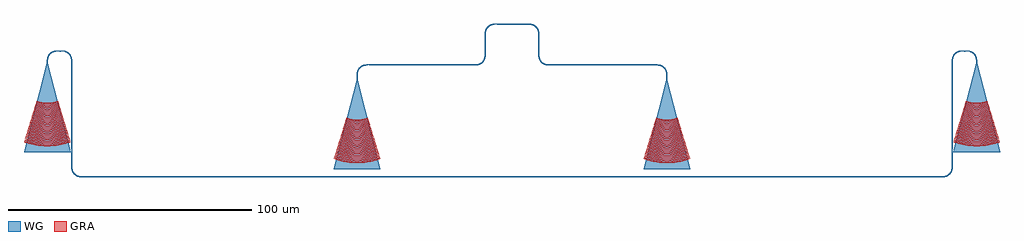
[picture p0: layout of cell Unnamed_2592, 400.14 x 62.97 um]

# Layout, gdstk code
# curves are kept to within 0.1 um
from math import pi, radians
import gdstk
lib = gdstk.Library(unit=1e-6, precision=1e-09)
def R(c, l, rs):  # rectangles x0, y0, x1, y1
    for r in rs: c.add(gdstk.rectangle(r[:2], r[2:], *l))
def P(c, l, *ps):  # polygons
    for p in ps: c.add(gdstk.Polygon(p, *l))
WG = (3, 0)
GRA = (6, 0)

straight_l10_wnone_csxs_ = lib.new_cell('straight_L10_WNone_CSxs_so')
R(straight_l10_wnone_csxs_, WG, [(0,-0.2,10,0.2)])

bend_euler_rnone_a90_p0_ = lib.new_cell('bend_euler_RNone_A90_P0_c66059ab')
P(bend_euler_rnone_a90_p0_, WG, [(0,-0.2),(0,0.2),(1.365,0.244),(2.282,0.414),(3.045,0.736),(3.734,1.266),(4.264,1.955),(4.586,2.718),(4.756,3.635),(4.8,5),(5.2,5),(5.154,3.595),(4.97,2.606),(4.61,1.755),(4.017,0.983),(3.245,0.39),(2.394,0.03),(1.405,-0.154)])

straight_l0p5_n2_csxs_so = lib.new_cell('straight_L0p5_N2_CSxs_so_W0p4')
R(straight_l0p5_n2_csxs_so, WG, [(0,-0.2,0.5,0.2)])

straight_l1_n2_csxs_so_w = lib.new_cell('straight_L1_N2_CSxs_so_W0p4')
R(straight_l1_n2_csxs_so_w, WG, [(0,-0.2,1,0.2)])

grating_coupler_ellipti_ = lib.new_cell('grating_coupler_ellipti_387acb4a')
P(grating_coupler_ellipti_, WG, [(34.97,-9.57),(-1.4,-0.2),(-1.4,0.2),(34.97,9.57),(35.17,9.57),(35.17,-9.57)])
P(grating_coupler_ellipti_, GRA, [(14.262,-4.461),(14.143,-4.303),(14.475,-3.226),(14.711,-2.127),(14.849,-1.011),(14.888,-0.113),(14.849,1.011),(14.711,2.127),(14.475,3.226),(14.143,4.303),(14.262,4.461),(14.453,4.411),(14.903,2.861),(15.132,1.497),(15.218,0.115),(15.157,-1.267),(14.903,-2.861),(14.453,-4.411)],
  [(14.812,-4.628),(14.693,-4.47),(15.038,-3.352),(15.283,-2.21),(15.427,-1.05),(15.467,-0.117),(15.443,0.817),(15.353,1.747),(15.095,3.125),(14.693,4.47),(14.812,4.628),(15.003,4.578),(15.47,2.97),(15.708,1.553),(15.796,0.119),(15.734,-1.315),(15.519,-2.735),(15.293,-3.666),(15.003,-4.578)],
  [(15.362,-4.796),(15.242,-4.638),(15.601,-3.477),(15.855,-2.293),(15.983,-1.331),(16.046,-0.122),(16.022,0.848),(15.928,1.813),(15.66,3.242),(15.242,4.638),(15.362,4.796),(15.554,4.746),(16.036,3.078),(16.284,1.61),(16.375,0.124),(16.311,-1.363),(16.088,-2.835),(15.854,-3.801),(15.554,-4.746)],
  [(15.912,-4.964),(15.792,-4.806),(16.164,-3.603),(16.383,-2.623),(16.559,-1.379),(16.626,-0.126),(16.6,0.879),(16.502,1.879),(16.225,3.359),(15.792,4.806),(15.912,4.964),(16.104,4.914),(16.603,3.187),(16.859,1.667),(16.954,0.128),(16.887,-1.411),(16.657,-2.935),(16.414,-3.934),(16.104,-4.914)],
  [(16.462,-5.131),(16.343,-4.973),(16.727,-3.729),(17.04,-2.201),(17.159,-1.169),(17.204,-0.13),(17.178,0.909),(17.077,1.944),(16.79,3.478),(16.343,4.973),(16.462,5.131),(16.653,5.081),(16.975,4.069),(17.226,3.035),(17.464,1.459),(17.534,0.132),(17.464,-1.459),(17.226,-3.035),(16.975,-4.069),(16.653,-5.081)],
  [(17.011,-5.299),(16.892,-5.141),(17.355,-3.594),(17.613,-2.275),(17.737,-1.208),(17.784,-0.135),(17.756,0.94),(17.652,2.009),(17.355,3.594),(16.892,5.141),(17.011,5.299),(17.202,5.249),(17.737,3.404),(18.011,1.781),(18.112,0.137),(18.041,-1.508),(17.794,-3.136),(17.535,-4.203),(17.202,-5.249)],
  [(17.561,-5.465),(17.442,-5.308),(17.92,-3.711),(18.187,-2.349),(18.314,-1.247),(18.362,-0.139),(18.334,0.971),(18.187,2.349),(17.92,3.711),(17.442,5.308),(17.561,5.465),(17.752,5.416),(18.096,4.337),(18.363,3.236),(18.617,1.556),(18.692,0.141),(18.617,-1.556),(18.363,-3.236),(18.096,-4.337),(17.752,-5.416)],
  [(18.111,-5.634),(17.992,-5.476),(18.485,-3.828),(18.76,-2.425),(18.891,-1.287),(18.942,-0.144),(18.912,1.001),(18.801,2.14),(18.485,3.828),(17.992,5.476),(18.111,5.634),(18.302,5.584),(18.657,4.471),(18.932,3.336),(19.194,1.604),(19.27,0.146),(19.194,-1.604),(18.932,-3.336),(18.657,-4.471),(18.302,-5.584)],
  [(18.661,-5.801),(18.542,-5.643),(18.978,-4.231),(19.334,-2.498),(19.469,-1.326),(19.52,-0.148),(19.49,1.032),(19.334,2.498),(18.978,4.231),(18.542,5.643),(18.661,5.801),(18.852,5.751),(19.217,4.605),(19.501,3.436),(19.771,1.652),(19.85,0.15),(19.771,-1.652),(19.501,-3.436),(19.217,-4.605),(18.852,-5.751)],
  [(19.211,-5.969),(19.092,-5.811),(19.615,-4.063),(19.907,-2.573),(20.046,-1.366),(20.1,-0.152),(20.068,1.063),(19.907,2.573),(19.615,4.063),(19.092,5.811),(19.211,5.969),(19.402,5.919),(19.778,4.739),(20.07,3.536),(20.347,1.7),(20.428,0.154),(20.347,-1.7),(20.07,-3.536),(19.778,-4.739),(19.402,-5.919)],
  [(19.761,-6.137),(19.642,-5.979),(20.104,-4.483),(20.481,-2.646),(20.624,-1.405),(20.678,-0.157),(20.646,1.093),(20.481,2.646),(20.104,4.483),(19.642,5.979),(19.761,6.137),(19.952,6.087),(20.338,4.875),(20.639,3.636),(20.924,1.748),(21.008,0.159),(20.924,-1.748),(20.639,-3.636),(20.338,-4.875),(19.952,-6.087)],
  [(20.311,-6.304),(20.192,-6.146),(20.745,-4.297),(21.054,-2.72),(21.201,-1.444),(21.258,-0.161),(21.224,1.124),(21.054,2.72),(20.745,4.297),(20.192,6.146),(20.311,6.304),(20.502,6.254),(20.61,5.947),(20.899,5.008),(21.207,3.736),(21.501,1.796),(21.586,0.163),(21.501,-1.796),(21.271,-3.415),(20.984,-4.693),(20.61,-5.947),(20.502,-6.254)],
  [(20.861,-6.472),(20.742,-6.314),(21.31,-4.414),(21.627,-2.796),(21.779,-1.484),(21.836,-0.165),(21.779,1.484),(21.627,2.796),(21.31,4.414),(20.742,6.314),(20.861,6.472),(21.052,6.422),(21.162,6.106),(21.547,4.818),(21.776,3.836),(22.077,1.844),(22.166,0.167),(22.107,-1.51),(21.841,-3.506),(21.547,-4.818),(21.162,-6.106),(21.052,-6.422)],
  [(21.411,-6.639),(21.292,-6.481),(21.875,-4.531),(22.201,-2.869),(22.356,-1.523),(22.415,-0.17),(22.38,1.185),(22.201,2.869),(21.875,4.531),(21.292,6.481),(21.411,6.639),(21.602,6.589),(21.715,6.265),(22.11,4.944),(22.345,3.936),(22.654,1.892),(22.744,0.172),(22.654,-1.892),(22.412,-3.598),(22.195,-4.609),(21.823,-5.937),(21.602,-6.589)],
  [(21.961,-6.807),(21.842,-6.649),(22.44,-4.649),(22.774,-2.943),(22.933,-1.562),(22.994,-0.174),(22.958,1.216),(22.774,2.943),(22.44,4.649),(21.842,6.649),(21.961,6.807),(22.152,6.757),(22.268,6.424),(22.673,5.07),(22.914,4.036),(23.231,1.941),(23.324,0.176),(23.231,-1.941),(22.982,-3.689),(22.673,-5.07),(22.268,-6.424),(22.152,-6.757)],
  [(22.511,-6.974),(22.392,-6.816),(23.005,-4.766),(23.348,-3.018),(23.511,-1.602),(23.574,-0.179),(23.511,1.602),(23.348,3.018),(23.005,4.766),(22.392,6.816),(22.511,6.974),(22.702,6.924),(22.821,6.584),(23.236,5.195),(23.483,4.136),(23.807,1.989),(23.902,0.181),(23.839,-1.628),(23.553,-3.781),(23.325,-4.844),(22.934,-6.239),(22.702,-6.924)],
  [(23.061,-7.142),(22.942,-6.984),(23.481,-5.237),(23.921,-3.091),(24.088,-1.641),(24.152,-0.183),(24.114,1.277),(23.921,3.091),(23.481,5.237),(22.942,6.984),(23.061,7.142),(23.252,7.092),(23.374,6.742),(23.799,5.321),(24.052,4.236),(24.384,2.037),(24.482,0.185),(24.384,-2.037),(24.123,-3.872),(23.89,-4.961),(23.489,-6.39),(23.252,-7.092)],
  [(23.611,-7.31),(23.491,-7.152),(24.044,-5.363),(24.495,-3.167),(24.666,-1.681),(24.732,-0.187),(24.666,1.681),(24.495,3.167),(24.044,5.363),(23.491,7.152),(23.611,7.31),(23.803,7.26),(23.926,6.902),(24.362,5.447),(24.62,4.337),(24.961,2.085),(25.06,0.189),(24.961,-2.085),(24.694,-3.964),(24.455,-5.078),(24.045,-6.541),(23.803,-7.26)],
  [(24.16,-7.477),(24.041,-7.319),(24.7,-5.117),(25.068,-3.24),(25.243,-1.72),(25.31,-0.192),(25.27,1.338),(25.068,3.24),(24.7,5.117),(24.041,7.319),(24.16,7.477),(24.351,7.427),(24.479,7.062),(24.823,5.947),(25.189,4.437),(25.496,2.519),(25.64,0.194),(25.537,-2.133),(25.264,-4.055),(25.02,-5.195),(24.601,-6.692),(24.351,-7.427)],
  [(24.71,-7.645),(24.591,-7.487),(25.169,-5.614),(25.58,-3.701),(25.821,-1.759),(25.889,-0.196),(25.821,1.759),(25.641,3.314),(25.265,5.235),(24.591,7.487),(24.71,7.645),(24.901,7.595),(25.032,7.221),(25.487,5.698),(25.758,4.537),(26.114,2.181),(26.218,0.198),(26.149,-1.785),(25.835,-4.147),(25.585,-5.313),(25.156,-6.843),(24.901,-7.595)],
  [(25.26,-7.812),(25.141,-7.654),(25.83,-5.352),(26.215,-3.389),(26.398,-1.799),(26.468,-0.201),(26.398,1.799),(26.215,3.389),(25.83,5.352),(25.141,7.654),(25.26,7.812),(25.451,7.762),(25.585,7.38),(26.05,5.824),(26.327,4.637),(26.691,2.229),(26.798,0.203),(26.691,-2.229),(26.405,-4.238),(26.15,-5.43),(25.712,-6.994),(25.451,-7.762)],
  [(25.81,-7.98),(25.691,-7.822),(26.295,-5.865),(26.724,-3.867),(26.976,-1.838),(27.048,-0.205),(27.005,1.43),(26.788,3.462),(26.395,5.469),(25.691,7.822),(25.81,7.98),(26.001,7.93),(26.138,7.539),(26.613,5.949),(26.896,4.737),(27.114,3.512),(27.267,2.277),(27.376,0.207),(27.304,-1.864),(27.172,-3.102),(26.976,-4.33),(26.715,-5.547),(26.267,-7.145),(26.001,-7.93)],
  [(26.36,-8.147),(26.241,-7.989),(26.632,-6.797),(26.96,-5.586),(27.362,-3.537),(27.553,-1.878),(27.626,-0.209),(27.583,1.461),(27.362,3.537),(26.96,5.586),(26.632,6.797),(26.241,7.989),(26.36,8.147),(26.551,8.097),(26.69,7.699),(27.176,6.075),(27.464,4.837),(27.688,3.587),(27.844,2.325),(27.956,0.211),(27.933,-1.058),(27.844,-2.325),(27.546,-4.421),(27.28,-5.664),(26.823,-7.296),(26.551,-8.097)],
  [(26.91,-8.315),(26.791,-8.157),(27.421,-6.117),(27.868,-4.033),(28.093,-2.342),(28.206,-0.213),(28.161,1.492),(27.935,3.611),(27.711,4.871),(27.421,6.117),(26.791,8.157),(26.91,8.315),(27.101,8.265),(27.243,7.858),(27.739,6.201),(28.033,4.937),(28.261,3.661),(28.421,2.374),(28.534,0.217),(28.511,-1.08),(28.421,-2.374),(28.117,-4.513),(27.845,-5.781),(27.378,-7.447),(27.101,-8.265)],
  [(27.46,-8.483),(27.341,-8.325),(27.984,-6.243),(28.44,-4.116),(28.708,-1.956),(28.784,-0.217),(28.739,1.522),(28.509,3.685),(28.28,4.971),(27.984,6.243),(27.341,8.325),(27.46,8.483),(27.651,8.433),(27.796,8.017),(28.302,6.327),(28.602,5.037),(28.835,3.735),(28.997,2.422),(29.114,0.221),(29.036,-1.982),(28.896,-3.298),(28.688,-4.604),(28.302,-6.327),(27.934,-7.598),(27.651,-8.433)],
  [(28.01,-8.65),(27.891,-8.492),(28.546,-6.368),(29.012,-4.199),(29.246,-2.438),(29.363,-0.222),(29.317,1.553),(29.082,3.759),(28.655,5.938),(28.306,7.224),(27.891,8.492),(28.01,8.65),(28.201,8.6),(28.349,8.177),(28.747,6.886),(29.171,5.137),(29.408,3.809),(29.574,2.47),(29.692,0.224),(29.668,-1.124),(29.574,-2.47),(29.258,-4.696),(28.975,-6.016),(28.489,-7.749),(28.201,-8.6)],
  [(28.56,-8.818),(28.441,-8.66),(29.109,-6.494),(29.584,-4.281),(29.863,-2.035),(29.942,-0.227),(29.895,1.584),(29.655,3.833),(29.22,6.055),(28.864,7.367),(28.441,8.66),(28.56,8.818),(28.751,8.768),(28.902,8.336),(29.427,6.578),(29.74,5.237),(29.981,3.883),(30.151,2.518),(30.272,0.229),(30.247,-1.146),(30.151,-2.518),(29.829,-4.787),(29.54,-6.133),(29.045,-7.9),(28.751,-8.768)],
  [(29.11,-8.985),(28.991,-8.827),(29.672,-6.62),(30.156,-4.364),(30.44,-2.074),(30.522,-0.231),(30.473,1.614),(30.229,3.908),(29.785,6.172),(29.422,7.51),(28.991,8.827),(29.11,8.985),(29.301,8.935),(29.6,8.051),(29.99,6.704),(30.309,5.337),(30.555,3.958),(30.727,2.566),(30.85,0.233),(30.825,-1.168),(30.727,-2.566),(30.399,-4.879),(30.105,-6.25),(29.6,-8.051),(29.301,-8.935)],
  [(29.66,-9.153),(29.541,-8.995),(30.235,-6.745),(30.729,-4.447),(31.018,-2.114),(31.1,-0.236),(31.018,2.114),(30.802,3.982),(30.35,6.289),(29.981,7.652),(29.541,8.995),(29.66,9.153),(29.851,9.103),(30.156,8.202),(30.67,6.367),(30.97,4.97),(31.304,2.614),(31.43,0.238),(31.346,-2.14),(31.195,-3.56),(30.97,-4.97),(30.67,-6.367),(30.156,-8.202),(29.851,-9.103)],
  [(30.21,-9.32),(30.091,-9.162),(30.798,-6.871),(31.301,-4.53),(31.553,-2.63),(31.68,-0.239),(31.629,1.676),(31.376,4.057),(31.124,5.472),(30.798,6.871),(30.091,9.162),(30.21,9.32),(30.401,9.27),(30.711,8.352),(31.116,6.955),(31.446,5.538),(31.702,4.105),(31.881,2.662),(32.008,0.243),(31.982,-1.211),(31.881,-2.662),(31.54,-5.062),(31.235,-6.484),(30.711,-8.352),(30.401,-9.27)],
  [(30.759,-9.488),(30.64,-9.33),(31.361,-6.997),(31.873,-4.613),(32.172,-2.193),(32.259,-0.243),(32.207,1.706),(31.949,4.131),(31.693,5.572),(31.361,6.997),(30.64,9.33),(30.759,9.488),(30.95,9.438),(31.267,8.503),(31.8,6.602),(32.111,5.153),(32.457,2.71),(32.587,0.247),(32.561,-1.233),(32.457,-2.71),(32.111,-5.153),(31.8,-6.602),(31.267,-8.503),(30.95,-9.438)])

straight_l1p2_n2_csxs_so = lib.new_cell('straight_L1p2_N2_CSxs_so_W0p4')
R(straight_l1p2_n2_csxs_so, WG, [(0,-0.2,1.2,0.2)])

straight_l42p5_n2_csxs_s = lib.new_cell('straight_L42p5_N2_CSxs_so_W0p4')
R(straight_l42p5_n2_csxs_s, WG, [(0,-0.2,42.5,0.2)])

straight_l6p2_n2_csxs_so = lib.new_cell('straight_L6p2_N2_CSxs_so_W0p4')
R(straight_l6p2_n2_csxs_so, WG, [(0,-0.2,6.2,0.2)])

straight_l41p57_n2_csxs_ = lib.new_cell('straight_L41p57_N2_CSxs_so_W0p4')
R(straight_l41p57_n2_csxs_, WG, [(0,-0.2,41.57,0.2)])

straight_l351_n2_csxs_so = lib.new_cell('straight_L351_N2_CSxs_so_W0p4')
R(straight_l351_n2_csxs_so, WG, [(0,-0.2,351,0.2)])

unnamed_2592 = lib.new_cell('Unnamed_2592')
unnamed_2592.add(gdstk.Reference(straight_l10_wnone_csxs_, (0,0)))
unnamed_2592.add(gdstk.Reference(bend_euler_rnone_a90_p0_, (-1,0), rotation=pi))
unnamed_2592.add(gdstk.Reference(straight_l0p5_n2_csxs_so, (-6,-5), rotation=3*pi/2))
unnamed_2592.add(gdstk.Reference(straight_l1_n2_csxs_so_w, (-1,0)))
unnamed_2592.add(gdstk.Reference(bend_euler_rnone_a90_p0_, (11,0), x_reflection=True))
unnamed_2592.add(gdstk.Reference(straight_l0p5_n2_csxs_so, (16,-5), rotation=3*pi/2))
unnamed_2592.add(gdstk.Reference(straight_l1_n2_csxs_so_w, (11,0), rotation=pi))
unnamed_2592.add(gdstk.Reference(grating_coupler_ellipti_, (-58.5,-24.3), rotation=3*pi/2))
unnamed_2592.add(gdstk.Reference(grating_coupler_ellipti_, (68.5,-24.3), rotation=3*pi/2))
unnamed_2592.add(gdstk.Reference(bend_euler_rnone_a90_p0_, (63.5,-16.7), x_reflection=True))
unnamed_2592.add(gdstk.Reference(straight_l1p2_n2_csxs_so, (68.5,-21.7), rotation=3*pi/2))
unnamed_2592.add(gdstk.Reference(bend_euler_rnone_a90_p0_, (16,-11.7), rotation=3*pi/2))
unnamed_2592.add(gdstk.Reference(straight_l42p5_n2_csxs_s, (21,-16.7)))
unnamed_2592.add(gdstk.Reference(straight_l6p2_n2_csxs_so, (16,-11.7), rotation=pi/2))
unnamed_2592.add(gdstk.Reference(bend_euler_rnone_a90_p0_, (-53.5,-16.7), rotation=pi))
unnamed_2592.add(gdstk.Reference(straight_l1p2_n2_csxs_so, (-58.5,-21.7), rotation=3*pi/2))
unnamed_2592.add(gdstk.Reference(bend_euler_rnone_a90_p0_, (-6,-11.7), rotation=3*pi/2, x_reflection=True))
unnamed_2592.add(gdstk.Reference(straight_l42p5_n2_csxs_s, (-11,-16.7), rotation=pi))
unnamed_2592.add(gdstk.Reference(straight_l6p2_n2_csxs_so, (-6,-11.7), rotation=pi/2))
unnamed_2592.add(gdstk.Reference(grating_coupler_ellipti_, (-185.5,-17.4), rotation=3*pi/2))
unnamed_2592.add(gdstk.Reference(grating_coupler_ellipti_, (195.5,-17.4), rotation=3*pi/2))
unnamed_2592.add(gdstk.Reference(bend_euler_rnone_a90_p0_, (-180.5,-11), rotation=pi))
unnamed_2592.add(gdstk.Reference(bend_euler_rnone_a90_p0_, (-175.5,-16), rotation=pi/2))
unnamed_2592.add(gdstk.Reference(bend_euler_rnone_a90_p0_, (-170.5,-62.57), rotation=pi, x_reflection=True))
unnamed_2592.add(gdstk.Reference(straight_l41p57_n2_csxs_, (-175.5,-57.57), rotation=pi/2))
unnamed_2592.add(gdstk.Reference(bend_euler_rnone_a90_p0_, (185.5,-57.57), rotation=3*pi/2, x_reflection=True))
unnamed_2592.add(gdstk.Reference(straight_l351_n2_csxs_so, (180.5,-62.57), rotation=pi))
unnamed_2592.add(gdstk.Reference(bend_euler_rnone_a90_p0_, (190.5,-11), rotation=pi))
unnamed_2592.add(gdstk.Reference(straight_l41p57_n2_csxs_, (185.5,-16), rotation=3*pi/2))
unnamed_2592.add(gdstk.Reference(bend_euler_rnone_a90_p0_, (195.5,-16), rotation=pi/2))

lib.write_gds('Unnamed_2592.gds')
